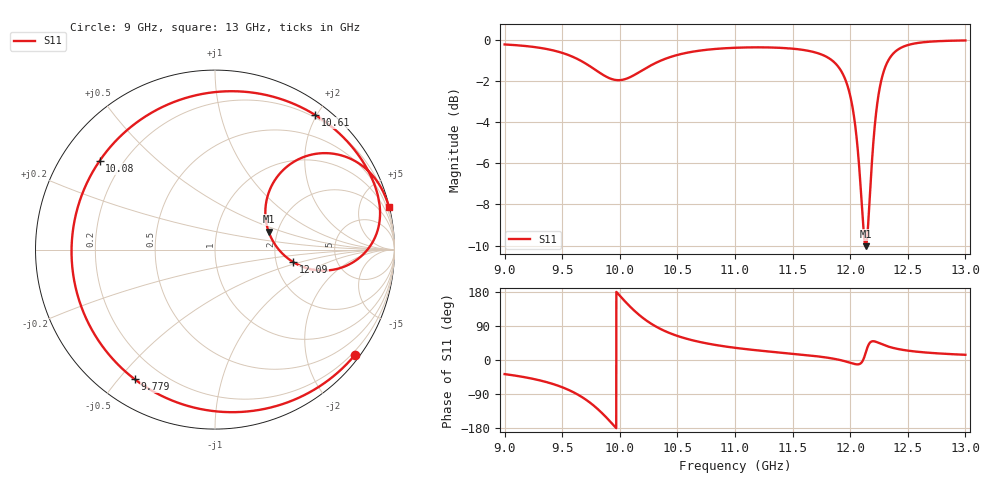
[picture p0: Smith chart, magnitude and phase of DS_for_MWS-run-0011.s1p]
! TOUCHSTONE file generated by CST DESIGN STUDIO
! Date and time: Tue Feb  4 14:21:51 2025
! Project name: C:\Work\MatlabApps\UnitCellOptimizationMatlab\CST\unitcell.cst
! Tree item: Tasks\Sweep1\SPara1\S-Parameters
! Header version: 2024
! Port assignment regex: !\s*Touchstone port\s*([0-9]+)\s*=\s*(CST MWS port|CST DES external port|CST DES block port)\s*(.+)\s* \(\"(.*)\"\)(\s*mode\s*([0-9]+))?.*
! Touchstone port assignment:
! Touchstone port 1 = CST DES external port 1 ("")
# GHz S MA R 50
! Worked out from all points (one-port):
!   4001 points, 9 GHz to 13 GHz, reference 50 ohm
!   lowest |S11| = -10.0 dB at 12.13 GHz (marker M1), VSWR 1.92, Z = 89.7 + j20.1 ohm
!   |S11| at or under -10 dB: 12.13072 GHz to 12.13778 GHz (7.06 MHz wide, 0.0582 % of centre)
!   S11 on the Smith chart (normalised r, x): 9 GHz: 0.12, -2.97; 9.779 GHz: 0.11, -0.55; 10.08 GHz: 0.12, +0.34; 10.61 GHz: 0.17, +1.98; 12.09 GHz: 2.49, -0.43; 13 GHz: 0.07, +8.31
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9  0.9757 -37.2
9.282  0.9597 -52.1
9.5  0.9308 -71.9
9.659  0.8914 -95.5
9.779  0.8496 -121.7
9.901  0.8097 -157.3
10  0.7989 169.6
10.084  0.811 142.5
10.167  0.835 119.2
10.255  0.8632 99.1
10.376  0.8961 78.6
10.5  0.9201 63.5
10.613  0.9349 53.4
10.786  0.9491 42.1
11  0.9578 32.2
11.5  0.953 16.5
11.838  0.8944 4.4
11.931  0.832 -1.4
12  0.7322 -7.3
12.052  0.5912 -11.3
12.09  0.4412 -9.1
12.134  0.3151 18.7
12.164  0.3878 42.7
12.198  0.5501 49.5
12.251  0.7507 44.7
12.354  0.9134 33.4
12.5  0.9723 24.7
13  0.9979 13.7
